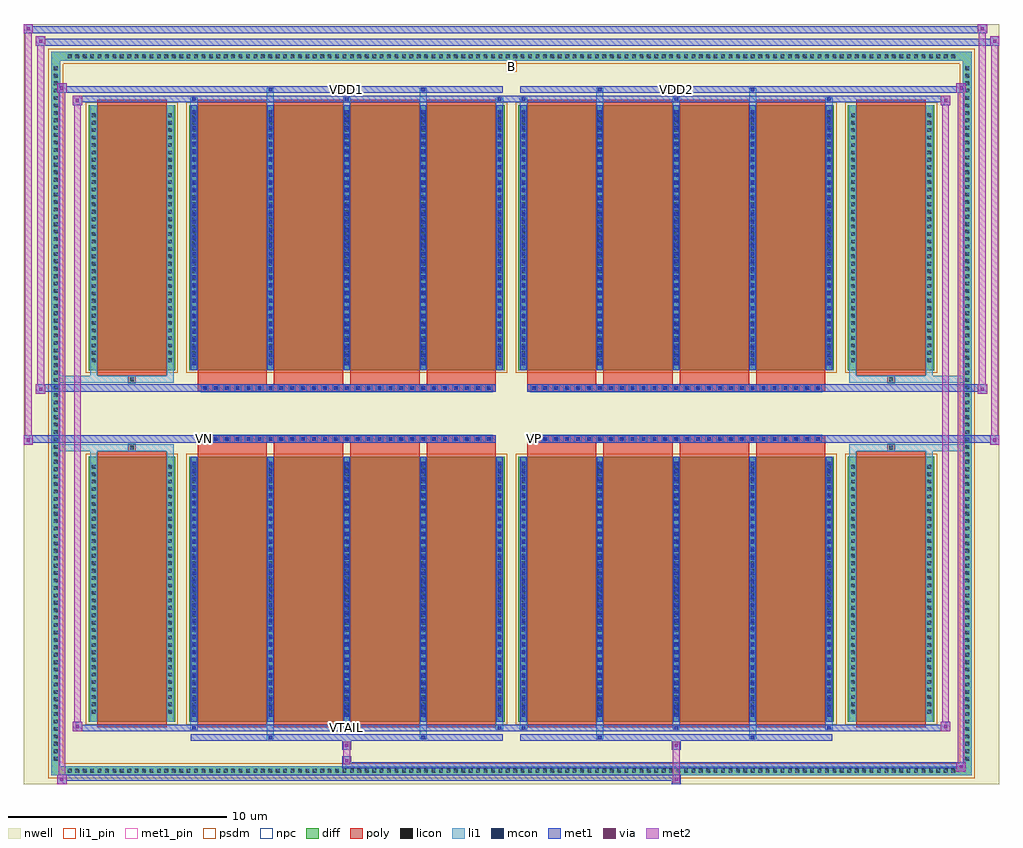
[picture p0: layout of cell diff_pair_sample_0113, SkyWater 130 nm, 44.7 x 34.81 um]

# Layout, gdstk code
import gdstk
lib = gdstk.Library(unit=1e-6, precision=5e-09)
def R(c, l, rs):  # rectangles x0, y0, x1, y1
    for r in rs: c.add(gdstk.rectangle(r[:2], r[2:], *l))
def A(c, l, x, y, w, h, nx, ny, dx, dy):  # array of equal rectangles
    R(c, l, [(x+i*dx, y+j*dy, x+i*dx+w, y+j*dy+h) for i in range(nx) for j in range(ny)])
def P(c, l, *ps):  # polygons
    for p in ps: c.add(gdstk.Polygon(p, *l))
nwell = (64, 20)
diff = (65, 20)
poly = (66, 20)
licon = (66, 44)
li1_pin = (67, 16)
li1 = (67, 20)
mcon = (67, 44)
met1_pin = (68, 16)
met1 = (68, 20)
via = (68, 44)
met2 = (69, 20)
psdm = (94, 20)
npc = (95, 20)

diff_pair_sample_0113 = lib.new_cell('diff_pair_sample_0113')
R(diff_pair_sample_0113, nwell, [(-22.35,-16.97,22.35,17.84), (-19.67,-15.16,-0.01,-0.8), (0.01,-15.16,19.67,-0.8), (-19.67,0.8,-0.01,15.16), (0.01,0.8,19.67,15.16)])
A(diff_pair_sample_0113, diff, -20.435, -16.57, 0.41, 0.41, 120, 2, 0.34, 32.73)
A(diff_pair_sample_0113, diff, -21.08, -16.015, 0.41, 0.41, 1, 94, 0, 0.34)
A(diff_pair_sample_0113, diff, 20.67, -16.015, 0.41, 0.41, 1, 94, 0, 0.34)
R(diff_pair_sample_0113, diff, [(-20.435,-16.57,20.435,-16.16), (-21.08,-16.015,-20.67,16.015), (20.67,-16.015,21.08,16.015), (-19.36,-14.115,-15.41,-1.985), (-14.77,-14.115,-0.32,-1.985), (0.32,-14.115,14.77,-1.985), (15.41,-14.115,19.36,-1.985), (-19.36,1.985,-15.41,14.115), (-14.77,1.985,-0.32,14.115), (0.32,1.985,14.77,14.115), (15.41,1.985,19.36,14.115), (-20.435,16.16,20.435,16.57)])
P(diff_pair_sample_0113, diff, [(21.08,16.57),(-21.08,16.57),(-21.08,-16.16),(-20.67,-16.16),(-20.67,16.16),(20.67,16.16),(20.67,-16.16),(-20.67,-16.16),(-21.08,-16.16),(-21.08,-16.57),(21.08,-16.57)])
A(diff_pair_sample_0113, poly, -14.38, -14.365, 3.17, 12.63, 4, 2, 3.5, 16.1)
A(diff_pair_sample_0113, poly, 0.71, -14.365, 3.17, 12.63, 4, 2, 3.5, 16.1)
A(diff_pair_sample_0113, poly, -14.38, -1.735, 3.17, 0.405, 4, 2, 3.5, 3.065)
A(diff_pair_sample_0113, poly, 0.71, -1.735, 3.17, 0.405, 4, 2, 3.5, 3.065)
A(diff_pair_sample_0113, poly, -14.21, -1.33, 0.33, 0.33, 27, 2, 0.5, 2.33)
A(diff_pair_sample_0113, poly, 0.88, -1.33, 0.33, 0.33, 27, 2, 0.5, 2.33)
R(diff_pair_sample_0113, poly, [(-18.97,-14.365,-15.8,-1.735), (15.8,-14.365,18.97,-1.735), (-17.55,-1.735,-17.22,-1.405), (-17.55,-1.735,-17.22,-1.405), (17.22,-1.735,17.55,-1.405), (17.22,-1.735,17.55,-1.405), (-14.38,-1.33,-0.71,-1), (0.71,-1.33,14.38,-1), (-14.38,1,-0.71,1.33), (0.71,1,14.38,1.33), (-17.55,1.405,-17.22,1.735), (-17.55,1.405,-17.22,1.735), (17.22,1.405,17.55,1.735), (17.22,1.405,17.55,1.735), (-18.97,1.735,-15.8,14.365), (15.8,1.735,18.97,14.365)])
A(diff_pair_sample_0113, licon, -20.315, -16.45, 0.17, 0.17, 120, 2, 0.34, 32.73)
A(diff_pair_sample_0113, licon, -20.96, -15.895, 0.17, 0.17, 1, 94, 0, 0.34)
A(diff_pair_sample_0113, licon, 20.79, -15.895, 0.17, 0.17, 1, 94, 0, 0.34)
A(diff_pair_sample_0113, licon, -19.22, -13.745, 0.17, 0.17, 1, 34, 0, 0.34)
A(diff_pair_sample_0113, licon, -15.72, -13.745, 0.17, 0.17, 1, 34, 0, 0.34)
A(diff_pair_sample_0113, licon, -14.63, -13.745, 0.17, 0.17, 5, 34, 3.5, 0.34)
A(diff_pair_sample_0113, licon, 0.46, -13.745, 0.17, 0.17, 5, 34, 3.5, 0.34)
A(diff_pair_sample_0113, licon, 15.55, -13.745, 0.17, 0.17, 1, 34, 0, 0.34)
A(diff_pair_sample_0113, licon, 19.05, -13.745, 0.17, 0.17, 1, 34, 0, 0.34)
A(diff_pair_sample_0113, licon, -14.13, -1.25, 0.17, 0.17, 27, 2, 0.5, 2.33)
A(diff_pair_sample_0113, licon, 0.96, -1.25, 0.17, 0.17, 27, 2, 0.5, 2.33)
A(diff_pair_sample_0113, licon, -19.22, 2.355, 0.17, 0.17, 1, 34, 0, 0.34)
A(diff_pair_sample_0113, licon, -15.72, 2.355, 0.17, 0.17, 1, 34, 0, 0.34)
A(diff_pair_sample_0113, licon, -14.63, 2.355, 0.17, 0.17, 5, 34, 3.5, 0.34)
A(diff_pair_sample_0113, licon, 0.46, 2.355, 0.17, 0.17, 5, 34, 3.5, 0.34)
A(diff_pair_sample_0113, licon, 15.55, 2.355, 0.17, 0.17, 1, 34, 0, 0.34)
A(diff_pair_sample_0113, licon, 19.05, 2.355, 0.17, 0.17, 1, 34, 0, 0.34)
R(diff_pair_sample_0113, licon, [(-17.47,-1.655,-17.3,-1.485), (17.3,-1.655,17.47,-1.485), (-17.47,1.485,-17.3,1.655), (17.3,1.485,17.47,1.655)])
R(diff_pair_sample_0113, li1_pin, [(-0.25,15.66,0.25,16.16)])
A(diff_pair_sample_0113, li1, -20.395, -16.53, 0.33, 0.33, 120, 2, 0.34, 32.73)
A(diff_pair_sample_0113, li1, -21.04, -15.975, 0.33, 0.33, 1, 94, 0, 0.34)
A(diff_pair_sample_0113, li1, 20.71, -15.975, 0.33, 0.33, 1, 94, 0, 0.34)
A(diff_pair_sample_0113, li1, -14.71, -14.49, 0.33, 0.375, 3, 2, 7, 28.605)
A(diff_pair_sample_0113, li1, -14.63, -14.49, 0.17, 0.17, 3, 2, 7, 28.81)
A(diff_pair_sample_0113, li1, 0.38, -14.49, 0.33, 0.375, 3, 2, 7, 28.605)
A(diff_pair_sample_0113, li1, 0.46, -14.49, 0.17, 0.17, 3, 2, 7, 28.81)
A(diff_pair_sample_0113, li1, -14.71, -14.115, 0.33, 12.13, 5, 2, 3.5, 16.1)
A(diff_pair_sample_0113, li1, 0.38, -14.115, 0.33, 12.13, 5, 2, 3.5, 16.1)
A(diff_pair_sample_0113, li1, -14.63, -13.895, 0.17, 0.17, 5, 33, 3.5, 0.36)
A(diff_pair_sample_0113, li1, -14.63, -13.895, 0.17, 11.69, 5, 2, 3.5, 16.1)
A(diff_pair_sample_0113, li1, 0.46, -13.895, 0.17, 0.17, 5, 33, 3.5, 0.36)
A(diff_pair_sample_0113, li1, 0.46, -13.895, 0.17, 11.69, 5, 2, 3.5, 16.1)
A(diff_pair_sample_0113, li1, -19.3, -13.825, 0.33, 0.33, 1, 34, 0, 0.34)
A(diff_pair_sample_0113, li1, -15.8, -13.825, 0.33, 0.33, 1, 34, 0, 0.34)
A(diff_pair_sample_0113, li1, -14.71, -13.825, 0.33, 0.33, 5, 34, 3.5, 0.34)
A(diff_pair_sample_0113, li1, 0.38, -13.825, 0.33, 0.33, 5, 34, 3.5, 0.34)
A(diff_pair_sample_0113, li1, 15.47, -13.825, 0.33, 0.33, 1, 34, 0, 0.34)
A(diff_pair_sample_0113, li1, 18.97, -13.825, 0.33, 0.33, 1, 34, 0, 0.34)
A(diff_pair_sample_0113, li1, -14.21, -1.33, 0.33, 0.33, 27, 2, 0.5, 2.33)
A(diff_pair_sample_0113, li1, 0.88, -1.33, 0.33, 0.33, 27, 2, 0.5, 2.33)
A(diff_pair_sample_0113, li1, -14.63, 2.205, 0.17, 0.17, 5, 33, 3.5, 0.36)
A(diff_pair_sample_0113, li1, 0.46, 2.205, 0.17, 0.17, 5, 33, 3.5, 0.36)
A(diff_pair_sample_0113, li1, -19.3, 2.275, 0.33, 0.33, 1, 34, 0, 0.34)
A(diff_pair_sample_0113, li1, -15.8, 2.275, 0.33, 0.33, 1, 34, 0, 0.34)
A(diff_pair_sample_0113, li1, -14.71, 2.275, 0.33, 0.33, 5, 34, 3.5, 0.34)
A(diff_pair_sample_0113, li1, 0.38, 2.275, 0.33, 0.33, 5, 34, 3.5, 0.34)
A(diff_pair_sample_0113, li1, 15.47, 2.275, 0.33, 0.33, 1, 34, 0, 0.34)
A(diff_pair_sample_0113, li1, 18.97, 2.275, 0.33, 0.33, 1, 34, 0, 0.34)
R(diff_pair_sample_0113, li1, [(-21.08,-16.57,-20.67,-16.16), (-21.08,-16.57,-20.67,-16.16), (-20.67,-16.57,20.67,-16.16), (20.67,-16.57,21.08,-16.16), (20.67,-16.57,21.08,-16.16), (-21.08,-16.16,-20.67,16.16), (20.67,-16.16,21.08,16.16), (-11.21,-14.92,-10.88,-14.115), (-11.13,-14.92,-10.96,-14.75), (-4.21,-14.92,-3.88,-14.115), (-4.13,-14.92,-3.96,-14.75), (3.88,-14.92,4.21,-14.115), (3.96,-14.92,4.13,-14.75), (10.88,-14.92,11.21,-14.115), (10.96,-14.92,11.13,-14.75), (-19.3,-14.115,-18.97,-1.985), (-15.8,-14.115,-15.47,-1.985), (15.47,-14.115,15.8,-1.985), (18.97,-14.115,19.3,-1.985), (-19.3,-1.985,-18.97,-1.405), (-15.8,-1.985,-15.47,-1.405), (15.47,-1.985,15.8,-1.405), (18.97,-1.985,19.3,-1.405), (-21.08,-1.735,-17.55,-1.405), (-19.3,-1.735,-17.55,-1.405), (-17.55,-1.735,-17.22,-1.405), (-17.22,-1.735,-15.47,-1.405), (15.47,-1.735,17.22,-1.405), (17.22,-1.735,17.55,-1.405), (17.22,-1.735,21.08,-1.405), (17.55,-1.735,19.3,-1.405), (-21.08,1.405,-17.55,1.735), (-19.3,1.405,-17.55,1.735), (-19.3,1.405,-18.97,1.985), (-17.55,1.405,-17.22,1.735), (-17.22,1.405,-15.47,1.735), (-15.8,1.405,-15.47,1.985), (15.47,1.405,17.22,1.735), (15.47,1.405,15.8,1.985), (17.22,1.405,17.55,1.735), (17.22,1.405,21.08,1.735), (17.55,1.405,19.3,1.735), (18.97,1.405,19.3,1.985), (-19.3,1.985,-18.97,14.115), (-15.8,1.985,-15.47,14.115), (15.47,1.985,15.8,14.115), (18.97,1.985,19.3,14.115), (-11.21,14.115,-10.88,14.92), (-4.21,14.115,-3.88,14.92), (3.88,14.115,4.21,14.92), (10.88,14.115,11.21,14.92), (-11.13,14.75,-10.96,14.92), (-4.13,14.75,-3.96,14.92), (3.96,14.75,4.13,14.92), (10.96,14.75,11.13,14.92), (-21.08,16.16,-20.67,16.57), (-21.08,16.16,-20.67,16.57), (-20.67,16.16,20.67,16.57), (20.67,16.16,21.08,16.57), (20.67,16.16,21.08,16.57)])
A(diff_pair_sample_0113, mcon, -14.63, -14.49, 0.17, 0.17, 3, 2, 7, 28.81)
A(diff_pair_sample_0113, mcon, 0.46, -14.49, 0.17, 0.17, 3, 2, 7, 28.81)
A(diff_pair_sample_0113, mcon, -14.63, -13.895, 0.17, 0.17, 5, 33, 3.5, 0.36)
A(diff_pair_sample_0113, mcon, 0.46, -13.895, 0.17, 0.17, 5, 33, 3.5, 0.36)
A(diff_pair_sample_0113, mcon, -14.13, -1.25, 0.17, 0.17, 27, 2, 0.5, 2.33)
A(diff_pair_sample_0113, mcon, 0.96, -1.25, 0.17, 0.17, 27, 2, 0.5, 2.33)
A(diff_pair_sample_0113, mcon, -14.63, 2.205, 0.17, 0.17, 5, 33, 3.5, 0.36)
A(diff_pair_sample_0113, mcon, 0.46, 2.205, 0.17, 0.17, 5, 33, 3.5, 0.36)
R(diff_pair_sample_0113, mcon, [(-11.13,-14.92,-10.96,-14.75), (-4.13,-14.92,-3.96,-14.75), (3.96,-14.92,4.13,-14.75), (10.96,-14.92,11.13,-14.75), (-11.13,14.75,-10.96,14.92), (-4.13,14.75,-3.96,14.92), (3.96,14.75,4.13,14.92), (10.96,14.75,11.13,14.92)])
R(diff_pair_sample_0113, met1_pin, [(-7.68,-14.53,-7.41,-14.26), (-14.18,-1.29,-13.91,-1.02), (0.91,-1.29,1.18,-1.02), (-7.68,14.71,-7.41,14.98), (7.41,14.71,7.68,14.98)])
A(diff_pair_sample_0113, met1, -14.69, -14.55, 0.29, 0.29, 3, 2, 7, 28.81)
A(diff_pair_sample_0113, met1, 0.4, -14.55, 0.29, 0.29, 3, 2, 7, 28.81)
A(diff_pair_sample_0113, met1, -14.69, -14.115, 0.29, 12.13, 5, 2, 3.5, 16.1)
A(diff_pair_sample_0113, met1, 0.4, -14.115, 0.29, 12.13, 5, 2, 3.5, 16.1)
A(diff_pair_sample_0113, met1, -14.69, -13.955, 0.29, 0.29, 5, 33, 3.5, 0.36)
A(diff_pair_sample_0113, met1, 0.4, -13.955, 0.29, 0.29, 5, 33, 3.5, 0.36)
A(diff_pair_sample_0113, met1, -14.19, -1.31, 0.29, 0.29, 27, 2, 0.5, 2.33)
A(diff_pair_sample_0113, met1, 0.9, -1.31, 0.29, 0.29, 27, 2, 0.5, 2.33)
A(diff_pair_sample_0113, met1, -14.69, 2.145, 0.29, 0.29, 5, 33, 3.5, 0.36)
A(diff_pair_sample_0113, met1, 0.4, 2.145, 0.29, 0.29, 5, 33, 3.5, 0.36)
R(diff_pair_sample_0113, met1, [(-20.81,-16.97,-20.38,-16.54), (7.33,-16.97,7.76,-16.54), (-20.81,-16.83,7.76,-16.54), (20.38,-16.4,20.81,-15.97), (-7.76,-16.26,20.81,-15.97), (-7.76,-16.12,-7.33,-15.69), (-7.76,-15.41,-7.33,-14.98), (7.33,-15.41,7.76,-14.98), (-14.69,-14.98,-0.4,-14.69), (-11.19,-14.98,-10.9,-14.69), (-4.19,-14.98,-3.9,-14.69), (0.4,-14.98,14.69,-14.69), (3.9,-14.98,4.19,-14.69), (10.9,-14.98,11.19,-14.69), (-20.1,-14.55,-19.67,-14.12), (-20.1,-14.55,-14.69,-14.26), (-14.69,-14.55,-0.4,-14.26), (-0.4,-14.55,0.4,-14.26), (0.4,-14.55,14.69,-14.26), (14.69,-14.55,20.1,-14.26), (19.67,-14.55,20.1,-14.12), (-22.35,-1.43,-21.92,-1), (21.92,-1.43,22.35,-1), (-22.35,-1.33,-0.71,-1), (-14.38,-1.33,-0.71,-1), (0.71,-1.33,14.38,-1), (0.71,-1.33,22.35,-1), (-21.78,0.9,-21.35,1.33), (21.35,0.9,21.78,1.33), (-21.78,1,-14.38,1.33), (-14.38,1,-0.71,1.33), (0.71,1,14.38,1.33), (14.38,1,21.78,1.33), (-20.1,14.12,-19.67,14.55), (19.67,14.12,20.1,14.55), (-20.1,14.26,-14.69,14.55), (-14.69,14.26,-0.4,14.55), (-0.4,14.26,0.4,14.55), (0.4,14.26,14.69,14.55), (14.69,14.26,20.1,14.55), (-20.81,14.69,-20.38,15.12), (-20.81,14.69,-14.69,14.98), (-14.69,14.69,-0.4,14.98), (-11.19,14.69,-10.9,14.98), (-4.19,14.69,-3.9,14.98), (0.4,14.69,14.69,14.98), (3.9,14.69,4.19,14.98), (10.9,14.69,11.19,14.98), (14.69,14.69,20.81,14.98), (20.38,14.69,20.81,15.12), (-21.78,16.84,-21.35,17.27), (-21.78,16.84,-19.67,17.17), (-19.67,16.84,19.67,17.17), (19.67,16.84,22.35,17.17), (21.92,16.84,22.35,17.27), (-22.35,17.41,-21.92,17.84), (-22.35,17.41,-19.67,17.74), (-19.67,17.41,19.67,17.74), (19.67,17.41,21.78,17.74), (21.35,17.41,21.78,17.84)])
R(diff_pair_sample_0113, via, [(-20.67,-16.83,-20.52,-16.68), (7.47,-16.83,7.62,-16.68), (20.52,-16.26,20.67,-16.11), (-7.62,-15.98,-7.47,-15.83), (-7.62,-15.27,-7.47,-15.12), (7.47,-15.27,7.62,-15.12), (-19.96,-14.41,-19.81,-14.26), (19.81,-14.41,19.96,-14.26), (-22.21,-1.29,-22.06,-1.14), (22.06,-1.29,22.21,-1.14), (-21.64,1.04,-21.49,1.19), (21.49,1.04,21.64,1.19), (-19.96,14.26,-19.81,14.41), (19.81,14.26,19.96,14.41), (-20.67,14.83,-20.52,14.98), (20.52,14.83,20.67,14.98), (-21.64,16.98,-21.49,17.13), (22.06,16.98,22.21,17.13), (-22.21,17.55,-22.06,17.7), (21.49,17.55,21.64,17.7)])
R(diff_pair_sample_0113, met2, [(-20.81,-16.97,-20.38,-16.54), (-20.74,-16.97,-20.45,15.12), (-20.45,-16.97,-20.38,-16.54), (-20.76,-16.92,-20.43,-16.59), (7.38,-16.92,7.71,-16.59), (7.38,-16.59,7.71,-15.36), (20.38,-16.4,20.81,-15.97), (20.45,-16.4,20.74,15.12), (20.74,-16.4,20.81,-15.97), (20.43,-16.35,20.76,-16.02), (-7.71,-16.07,-7.38,-15.74), (-7.71,-15.74,-7.38,-15.36), (-7.71,-15.36,-7.38,-15.03), (7.38,-15.36,7.71,-15.03), (-20.1,-14.55,-19.67,-14.12), (-20.03,-14.55,-19.74,14.55), (-19.74,-14.55,-19.67,-14.12), (19.67,-14.55,20.1,-14.12), (19.74,-14.55,20.03,14.55), (20.03,-14.55,20.1,-14.12), (-20.05,-14.5,-19.72,-14.17), (19.72,-14.5,20.05,-14.17), (-22.35,-1.43,-21.92,-1), (-22.3,-1.43,-21.97,17.84), (-21.97,-1.43,-21.92,-1), (21.92,-1.43,22.35,-1), (21.97,-1.43,22.3,17.27), (22.3,-1.43,22.35,-1), (-22.3,-1.38,-21.97,-1.05), (21.97,-1.38,22.3,-1.05), (-21.78,0.9,-21.35,1.33), (-21.73,0.9,-21.4,17.27), (-21.4,0.9,-21.35,1.33), (21.35,0.9,21.78,1.33), (21.4,0.9,21.73,17.84), (21.73,0.9,21.78,1.33), (-21.73,0.95,-21.4,1.28), (21.4,0.95,21.73,1.28), (-20.1,14.12,-19.67,14.55), (-19.74,14.12,-19.67,14.55), (19.67,14.12,20.1,14.55), (20.03,14.12,20.1,14.55), (-20.05,14.17,-19.72,14.5), (19.72,14.17,20.05,14.5), (-20.81,14.69,-20.38,15.12), (-20.45,14.69,-20.38,15.12), (20.38,14.69,20.81,15.12), (20.74,14.69,20.81,15.12), (-20.76,14.74,-20.43,15.07), (20.43,14.74,20.76,15.07), (-21.78,16.84,-21.35,17.27), (-21.4,16.84,-21.35,17.27), (21.92,16.84,22.35,17.27), (22.3,16.84,22.35,17.27), (-21.73,16.89,-21.4,17.22), (21.97,16.89,22.3,17.22), (-22.35,17.41,-21.92,17.84), (-21.97,17.41,-21.92,17.84), (21.35,17.41,21.78,17.84), (21.73,17.41,21.78,17.84), (-22.3,17.46,-21.97,17.79), (21.4,17.46,21.73,17.79)])
R(diff_pair_sample_0113, psdm, [(-19.49,-14.245,-15.28,-1.855), (-14.9,-14.245,-0.19,-1.855), (0.19,-14.245,14.9,-1.855), (15.28,-14.245,19.49,-1.855), (-19.49,1.855,-15.28,14.245), (-14.9,1.855,-0.19,14.245), (0.19,1.855,14.9,14.245), (15.28,1.855,19.49,14.245)])
P(diff_pair_sample_0113, psdm, [(21.21,16.7),(-21.21,16.7),(-21.21,-16.03),(-20.54,-16.03),(-20.54,16.03),(20.54,16.03),(20.54,-16.03),(-20.54,-16.03),(-21.21,-16.03),(-21.21,-16.7),(21.21,-16.7)])
A(diff_pair_sample_0113, npc, -14.23, -1.35, 0.37, 0.37, 27, 2, 0.5, 2.33)
A(diff_pair_sample_0113, npc, 0.86, -1.35, 0.37, 0.37, 27, 2, 0.5, 2.33)
R(diff_pair_sample_0113, npc, [(-17.57,-1.755,-17.2,-1.385), (17.2,-1.755,17.57,-1.385), (-14.23,-1.35,-13.36,-0.98), (-14.23,-1.35,-13.36,-0.98), (-13.73,-1.35,-12.86,-0.98), (-13.73,-1.35,-12.86,-0.98), (-13.23,-1.35,-12.36,-0.98), (-13.23,-1.35,-12.36,-0.98), (-12.73,-1.35,-11.86,-0.98), (-12.73,-1.35,-11.86,-0.98), (-12.23,-1.35,-11.36,-0.98), (-12.23,-1.35,-11.36,-0.98), (-11.73,-1.35,-10.86,-0.98), (-11.73,-1.35,-10.86,-0.98), (-11.23,-1.35,-10.36,-0.98), (-11.23,-1.35,-10.36,-0.98), (-10.73,-1.35,-9.86,-0.98), (-10.73,-1.35,-9.86,-0.98), (-10.23,-1.35,-9.36,-0.98), (-10.23,-1.35,-9.36,-0.98), (-9.73,-1.35,-8.86,-0.98), (-9.73,-1.35,-8.86,-0.98), (-9.23,-1.35,-8.36,-0.98), (-9.23,-1.35,-8.36,-0.98), (-8.73,-1.35,-7.86,-0.98), (-8.73,-1.35,-7.86,-0.98), (-8.23,-1.35,-7.36,-0.98), (-8.23,-1.35,-7.36,-0.98), (-7.73,-1.35,-6.86,-0.98), (-7.73,-1.35,-6.86,-0.98), (-7.23,-1.35,-6.36,-0.98), (-7.23,-1.35,-6.36,-0.98), (-6.73,-1.35,-5.86,-0.98), (-6.73,-1.35,-5.86,-0.98), (-6.23,-1.35,-5.36,-0.98), (-6.23,-1.35,-5.36,-0.98), (-5.73,-1.35,-4.86,-0.98), (-5.73,-1.35,-4.86,-0.98), (-5.23,-1.35,-4.36,-0.98), (-5.23,-1.35,-4.36,-0.98), (-4.73,-1.35,-3.86,-0.98), (-4.73,-1.35,-3.86,-0.98), (-4.23,-1.35,-3.36,-0.98), (-4.23,-1.35,-3.36,-0.98), (-3.73,-1.35,-2.86,-0.98), (-3.73,-1.35,-2.86,-0.98), (-3.23,-1.35,-2.36,-0.98), (-3.23,-1.35,-2.36,-0.98), (-2.73,-1.35,-1.86,-0.98), (-2.73,-1.35,-1.86,-0.98), (-2.23,-1.35,-1.36,-0.98), (-2.23,-1.35,-1.36,-0.98), (-1.73,-1.35,-0.86,-0.98), (-1.73,-1.35,-0.86,-0.98), (0.86,-1.35,1.73,-0.98), (0.86,-1.35,1.73,-0.98), (1.36,-1.35,2.23,-0.98), (1.36,-1.35,2.23,-0.98), (1.86,-1.35,2.73,-0.98), (1.86,-1.35,2.73,-0.98), (2.36,-1.35,3.23,-0.98), (2.36,-1.35,3.23,-0.98), (2.86,-1.35,3.73,-0.98), (2.86,-1.35,3.73,-0.98), (3.36,-1.35,4.23,-0.98), (3.36,-1.35,4.23,-0.98), (3.86,-1.35,4.73,-0.98), (3.86,-1.35,4.73,-0.98), (4.36,-1.35,5.23,-0.98), (4.36,-1.35,5.23,-0.98), (4.86,-1.35,5.73,-0.98), (4.86,-1.35,5.73,-0.98), (5.36,-1.35,6.23,-0.98), (5.36,-1.35,6.23,-0.98), (5.86,-1.35,6.73,-0.98), (5.86,-1.35,6.73,-0.98), (6.36,-1.35,7.23,-0.98), (6.36,-1.35,7.23,-0.98), (6.86,-1.35,7.73,-0.98), (6.86,-1.35,7.73,-0.98), (7.36,-1.35,8.23,-0.98), (7.36,-1.35,8.23,-0.98), (7.86,-1.35,8.73,-0.98), (7.86,-1.35,8.73,-0.98), (8.36,-1.35,9.23,-0.98), (8.36,-1.35,9.23,-0.98), (8.86,-1.35,9.73,-0.98), (8.86,-1.35,9.73,-0.98), (9.36,-1.35,10.23,-0.98), (9.36,-1.35,10.23,-0.98), (9.86,-1.35,10.73,-0.98), (9.86,-1.35,10.73,-0.98), (10.36,-1.35,11.23,-0.98), (10.36,-1.35,11.23,-0.98), (10.86,-1.35,11.73,-0.98), (10.86,-1.35,11.73,-0.98), (11.36,-1.35,12.23,-0.98), (11.36,-1.35,12.23,-0.98), (11.86,-1.35,12.73,-0.98), (11.86,-1.35,12.73,-0.98), (12.36,-1.35,13.23,-0.98), (12.36,-1.35,13.23,-0.98), (12.86,-1.35,13.73,-0.98), (12.86,-1.35,13.73,-0.98), (13.36,-1.35,14.23,-0.98), (13.36,-1.35,14.23,-0.98), (-14.23,0.98,-13.36,1.35), (-14.23,0.98,-13.36,1.35), (-13.73,0.98,-12.86,1.35), (-13.73,0.98,-12.86,1.35), (-13.23,0.98,-12.36,1.35), (-13.23,0.98,-12.36,1.35), (-12.73,0.98,-11.86,1.35), (-12.73,0.98,-11.86,1.35), (-12.23,0.98,-11.36,1.35), (-12.23,0.98,-11.36,1.35), (-11.73,0.98,-10.86,1.35), (-11.73,0.98,-10.86,1.35), (-11.23,0.98,-10.36,1.35), (-11.23,0.98,-10.36,1.35), (-10.73,0.98,-9.86,1.35), (-10.73,0.98,-9.86,1.35), (-10.23,0.98,-9.36,1.35), (-10.23,0.98,-9.36,1.35), (-9.73,0.98,-8.86,1.35), (-9.73,0.98,-8.86,1.35), (-9.23,0.98,-8.36,1.35), (-9.23,0.98,-8.36,1.35), (-8.73,0.98,-7.86,1.35), (-8.73,0.98,-7.86,1.35), (-8.23,0.98,-7.36,1.35), (-8.23,0.98,-7.36,1.35), (-7.73,0.98,-6.86,1.35), (-7.73,0.98,-6.86,1.35), (-7.23,0.98,-6.36,1.35), (-7.23,0.98,-6.36,1.35), (-6.73,0.98,-5.86,1.35), (-6.73,0.98,-5.86,1.35), (-6.23,0.98,-5.36,1.35), (-6.23,0.98,-5.36,1.35), (-5.73,0.98,-4.86,1.35), (-5.73,0.98,-4.86,1.35), (-5.23,0.98,-4.36,1.35), (-5.23,0.98,-4.36,1.35), (-4.73,0.98,-3.86,1.35), (-4.73,0.98,-3.86,1.35), (-4.23,0.98,-3.36,1.35), (-4.23,0.98,-3.36,1.35), (-3.73,0.98,-2.86,1.35), (-3.73,0.98,-2.86,1.35), (-3.23,0.98,-2.36,1.35), (-3.23,0.98,-2.36,1.35), (-2.73,0.98,-1.86,1.35), (-2.73,0.98,-1.86,1.35), (-2.23,0.98,-1.36,1.35), (-2.23,0.98,-1.36,1.35), (-1.73,0.98,-0.86,1.35), (-1.73,0.98,-0.86,1.35), (0.86,0.98,1.73,1.35), (0.86,0.98,1.73,1.35), (1.36,0.98,2.23,1.35), (1.36,0.98,2.23,1.35), (1.86,0.98,2.73,1.35), (1.86,0.98,2.73,1.35), (2.36,0.98,3.23,1.35), (2.36,0.98,3.23,1.35), (2.86,0.98,3.73,1.35), (2.86,0.98,3.73,1.35), (3.36,0.98,4.23,1.35), (3.36,0.98,4.23,1.35), (3.86,0.98,4.73,1.35), (3.86,0.98,4.73,1.35), (4.36,0.98,5.23,1.35), (4.36,0.98,5.23,1.35), (4.86,0.98,5.73,1.35), (4.86,0.98,5.73,1.35), (5.36,0.98,6.23,1.35), (5.36,0.98,6.23,1.35), (5.86,0.98,6.73,1.35), (5.86,0.98,6.73,1.35), (6.36,0.98,7.23,1.35), (6.36,0.98,7.23,1.35), (6.86,0.98,7.73,1.35), (6.86,0.98,7.73,1.35), (7.36,0.98,8.23,1.35), (7.36,0.98,8.23,1.35), (7.86,0.98,8.73,1.35), (7.86,0.98,8.73,1.35), (8.36,0.98,9.23,1.35), (8.36,0.98,9.23,1.35), (8.86,0.98,9.73,1.35), (8.86,0.98,9.73,1.35), (9.36,0.98,10.23,1.35), (9.36,0.98,10.23,1.35), (9.86,0.98,10.73,1.35), (9.86,0.98,10.73,1.35), (10.36,0.98,11.23,1.35), (10.36,0.98,11.23,1.35), (10.86,0.98,11.73,1.35), (10.86,0.98,11.73,1.35), (11.36,0.98,12.23,1.35), (11.36,0.98,12.23,1.35), (11.86,0.98,12.73,1.35), (11.86,0.98,12.73,1.35), (12.36,0.98,13.23,1.35), (12.36,0.98,13.23,1.35), (12.86,0.98,13.73,1.35), (12.86,0.98,13.73,1.35), (13.36,0.98,14.23,1.35), (13.36,0.98,14.23,1.35), (-17.57,1.385,-17.2,1.755), (17.2,1.385,17.57,1.755)])
diff_pair_sample_0113.add(gdstk.Label('VTAIL', (-7.545,-14.395), layer=68, texttype=5))
diff_pair_sample_0113.add(gdstk.Label('VN', (-14.045,-1.155), layer=68, texttype=5))
diff_pair_sample_0113.add(gdstk.Label('VP', (1.045,-1.155), layer=68, texttype=5))
diff_pair_sample_0113.add(gdstk.Label('B', (0,15.91), layer=67, texttype=5))
diff_pair_sample_0113.add(gdstk.Label('VDD2', (7.545,14.845), layer=68, texttype=5))
diff_pair_sample_0113.add(gdstk.Label('VDD1', (-7.545,14.845), layer=68, texttype=5))

lib.write_gds('diff_pair_sample_0113.gds')
